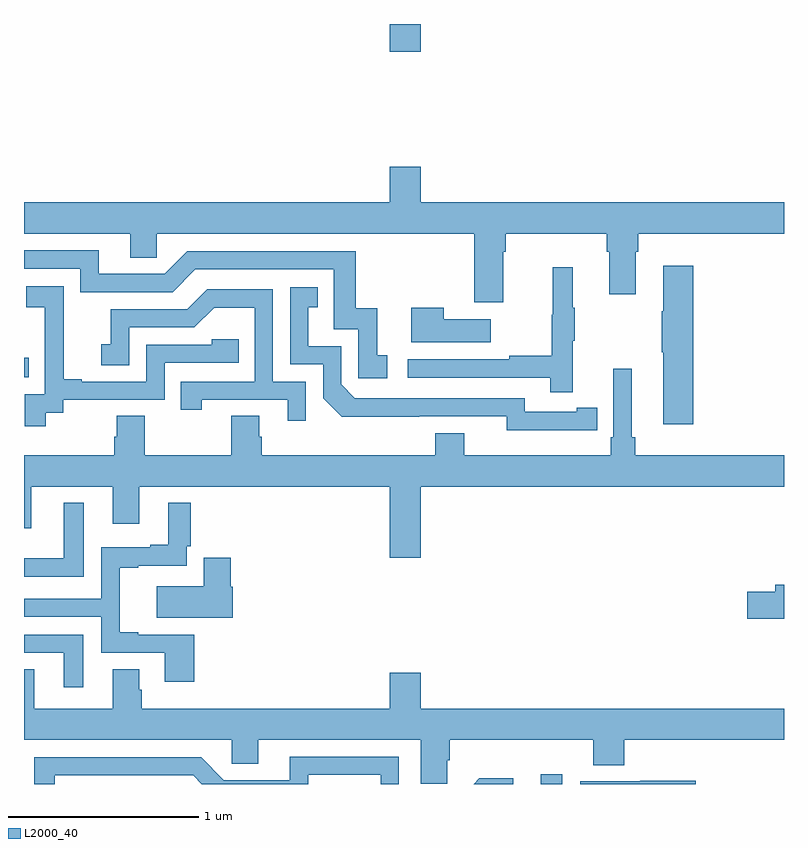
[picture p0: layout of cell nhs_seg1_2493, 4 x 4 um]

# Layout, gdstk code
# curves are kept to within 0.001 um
import gdstk
lib = gdstk.Library(unit=1e-6, precision=1e-09)
def R(c, l, rs):  # rectangles x0, y0, x1, y1
    for r in rs: c.add(gdstk.rectangle(r[:2], r[2:], *l))
def P(c, l, *ps):  # polygons
    for p in ps: c.add(gdstk.Polygon(p, *l))
L2000_40 = (2000, 40)

nhs_seg1_2493 = lib.new_cell('nhs_seg1_2493')
R(nhs_seg1_2493, L2000_40, [(249.719,518.199,249.834,518.251), (247,520.341,247.025,520.442), (248.924,522.054,249.088,522.199)])
P(nhs_seg1_2493, L2000_40, [(249.523,521),(249.536,521),(249.536,521.096),(250.067,521.096),(250.067,521),(250.079,521),(250.079,520.776),(250.219,520.776),(250.219,521),(250.232,521),(250.232,521.096),(251,521.096),(251,521.26),(249.088,521.26),(249.088,521.449),(248.924,521.449),(248.924,521.26),(247,521.26),(247,521.096),(247.559,521.096),(247.559,520.969),(247.698,520.969),(247.698,521.096),(249.371,521.096),(249.371,520.734),(249.523,520.734)],
  [(248.911,520.455),(248.858,520.455),(248.858,520.702),(248.747,520.702),(248.747,521.004),(247.86,521.004),(247.74,520.884),(247.393,520.884),(247.393,521.007),(247,521.007),(247,520.911),(247.296,520.911),(247.296,520.788),(247.782,520.788),(247.902,520.908),(248.631,520.908),(248.631,520.593),(248.76,520.593),(248.76,520.335),(248.911,520.335)],
  [(250.523,520.927),(250.364,520.927),(250.364,520.688),(250.357,520.688),(250.357,520.471),(250.364,520.471),(250.364,520.092),(250.523,520.092)],
  [(249.887,520.531),(249.898,520.531),(249.898,520.705),(249.887,520.705),(249.887,520.918),(249.784,520.918),(249.784,520.668),(249.777,520.668),(249.777,520.454),(249.553,520.454),(249.553,520.434),(249.021,520.434),(249.021,520.338),(249.769,520.338),(249.769,520.26),(249.887,520.26)],
  [(247.114,520.153),(247.206,520.153),(247.206,520.221),(247.74,520.221),(247.74,520.416),(248.129,520.416),(248.129,520.539),(247.989,520.539),(247.989,520.512),(247.644,520.512),(247.644,520.317),(247.303,520.317),(247.303,520.33),(247.208,520.33),(247.208,520.613),(247.209,520.613),(247.209,520.819),(247.011,520.819),(247.011,520.709),(247.109,520.709),(247.109,520.481),(247.11,520.481),(247.11,520.251),(247.005,520.251),(247.005,520.083),(247.114,520.083)],
  [(249.908,520.062),(250.016,520.062),(250.016,520.178),(249.908,520.178),(249.908,520.158),(249.636,520.158),(249.636,520.23),(248.742,520.23),(248.67,520.302),(248.67,520.503),(248.497,520.503),(248.497,520.707),(248.546,520.707),(248.546,520.813),(248.4,520.813),(248.4,520.407),(248.574,520.407),(248.574,520.23),(248.672,520.133),(249.54,520.134),(249.54,520.061)],
  [(248.484,520.317),(248.31,520.317),(248.31,520.803),(247.964,520.803),(247.859,520.698),(247.456,520.698),(247.456,520.513),(247.407,520.513),(247.407,520.404),(247.554,520.404),(247.554,520.602),(247.896,520.602),(248,520.706),(248.214,520.706),(248.214,520.317),(247.825,520.317),(247.825,520.17),(247.936,520.17),(247.936,520.221),(248.387,520.221),(248.387,520.11),(248.484,520.11)],
  [(249.457,520.645),(249.209,520.645),(249.209,520.705),(249.038,520.705),(249.038,520.523),(249.457,520.523)],
  [(249.088,519.764),(251,519.764),(251,519.928),(250.217,519.928),(250.217,520.024),(250.198,520.024),(250.198,520.384),(250.101,520.384),(250.101,520.024),(250.088,520.024),(250.088,519.928),(249.316,519.928),(249.316,520.045),(249.164,520.045),(249.164,519.928),(248.252,519.928),(248.252,520.026),(248.239,520.026),(248.239,520.136),(248.092,520.136),(248.092,519.928),(247.635,519.928),(247.635,520.136),(247.487,520.136),(247.487,520.026),(247.475,520.026),(247.475,519.928),(247,519.928),(247,519.546),(247.039,519.546),(247.039,519.764),(247.466,519.764),(247.466,519.57),(247.606,519.57),(247.606,519.764),(248.924,519.764),(248.924,519.39),(249.088,519.39)],
  [(247.895,518.985),(247.6,518.985),(247.6,518.998),(247.505,518.998),(247.505,519.336),(247.6,519.336),(247.6,519.348),(247.857,519.348),(247.857,519.451),(247.877,519.451),(247.877,519.679),(247.76,519.679),(247.76,519.457),(247.664,519.457),(247.664,519.444),(247.407,519.444),(247.407,519.174),(247,519.174),(247,519.078),(247.407,519.078),(247.407,518.889),(247.742,518.889),(247.742,518.736),(247.895,518.736)],
  [(247.315,519.679),(247.208,519.679),(247.208,519.388),(247,519.388),(247,519.291),(247.315,519.291)],
  [(248.099,519.237),(248.087,519.237),(248.087,519.391),(247.946,519.391),(247.946,519.241),(247.698,519.241),(247.698,519.074),(248.099,519.074)],
  [(251,519.248),(250.955,519.248),(250.955,519.212),(250.806,519.212),(250.806,519.07),(251,519.07)],
  [(247.312,518.985),(247,518.985),(247,518.889),(247.208,518.889),(247.208,518.709),(247.312,518.709)],
  [(249.228,518.323),(249.242,518.323),(249.242,518.432),(249.995,518.432),(249.995,518.299),(250.16,518.299),(250.16,518.432),(251,518.432),(251,518.596),(249.088,518.596),(249.088,518.785),(248.924,518.785),(248.924,518.596),(247.619,518.596),(247.619,518.694),(247.606,518.694),(247.606,518.804),(247.466,518.804),(247.466,518.596),(247.054,518.596),(247.054,518.804),(247,518.804),(247,518.432),(248.094,518.432),(248.094,518.305),(248.233,518.305),(248.233,518.432),(249.089,518.432),(249.089,518.2),(249.228,518.2)],
  [(247.161,518.244),(247.89,518.244),(247.935,518.199),(248.496,518.199),(248.496,518.247),(248.877,518.247),(248.877,518.199),(248.973,518.199),(248.973,518.343),(248.399,518.343),(248.399,518.22),(248.052,518.22),(247.932,518.34),(247.053,518.34),(247.053,518.199),(247.161,518.199)],
  [(249.574,518.228),(249.395,518.228),(249.366,518.199),(249.574,518.199)],
  [(250.535,518.216),(250.243,518.216),(250.243,518.214),(249.927,518.214),(249.927,518.199),(250.535,518.199)])

lib.write_gds('nhs_seg1_2493.gds')
